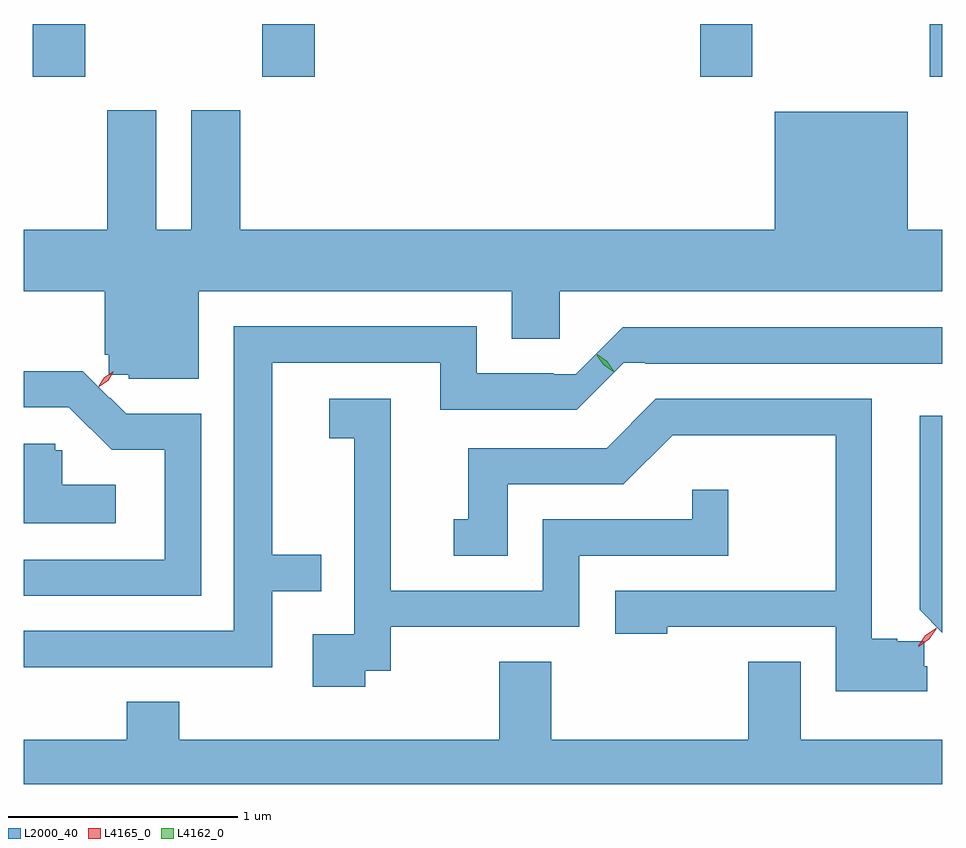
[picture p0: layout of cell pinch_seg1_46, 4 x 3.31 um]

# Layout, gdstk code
import gdstk
lib = gdstk.Library(unit=1e-6, precision=1e-09)
def R(c, l, rs):  # rectangles x0, y0, x1, y1
    for r in rs: c.add(gdstk.rectangle(r[:2], r[2:], *l))
def P(c, l, *ps):  # polygons
    for p in ps: c.add(gdstk.Polygon(p, *l))
L2000_40 = (2000, 40)
L4162_0 = (4162, 0)
L4165_0 = (4165, 0)

pinch_seg1_46 = lib.new_cell('pinch_seg1_46')
R(pinch_seg1_46, L2000_40, [(1447.866,842.791,1448.094,843.02), (1448.866,842.791,1449.094,843.02), (1450.771,842.791,1450.999,843.02), (1451.771,842.791,1451.826,843.02)])
P(pinch_seg1_46, L2000_40, [(1448.589,841.856),(1449.951,841.856),(1449.951,841.651),(1450.159,841.651),(1450.159,841.856),(1451.826,841.856),(1451.826,842.124),(1451.674,842.124),(1451.674,842.639),(1451.096,842.639),(1451.096,842.124),(1448.769,842.124),(1448.769,842.644),(1448.556,842.644),(1448.556,842.124),(1448.404,842.124),(1448.404,842.644),(1448.191,842.644),(1448.191,842.124),(1447.826,842.124),(1447.826,841.856),(1448.179,841.856),(1448.179,841.58),(1448.196,841.58),(1448.196,841.493),(1448.283,841.493),(1448.283,841.476),(1448.589,841.476)],
  [(1448.909,840.551),(1449.123,840.551),(1449.123,840.709),(1448.909,840.709),(1448.909,841.546),(1449.641,841.546),(1449.641,841.341),(1450.234,841.341),(1450.438,841.545),(1450.532,841.545),(1450.532,841.541),(1451.826,841.541),(1451.826,841.699),(1450.434,841.699),(1450.23,841.495),(1450.135,841.495),(1450.135,841.499),(1449.799,841.499),(1449.799,841.704),(1448.741,841.704),(1448.741,840.379),(1447.826,840.379),(1447.826,840.221),(1448.909,840.221)],
  [(1448.599,841.324),(1448.273,841.324),(1448.204,841.393),(1448.202,841.39),(1448.083,841.509),(1447.826,841.509),(1447.826,841.351),(1448.024,841.351),(1448.209,841.166),(1448.441,841.166),(1448.441,840.689),(1447.826,840.689),(1447.826,840.531),(1448.599,840.531)],
  [(1449.314,840.206),(1449.424,840.206),(1449.424,840.396),(1450.244,840.396),(1450.244,840.706),(1450.894,840.706),(1450.894,840.993),(1450.736,840.993),(1450.736,840.864),(1450.086,840.864),(1450.086,840.554),(1449.424,840.554),(1449.424,841.389),(1449.156,841.389),(1449.156,841.216),(1449.266,841.216),(1449.266,840.364),(1449.086,840.364),(1449.086,840.136),(1449.314,840.136)],
  [(1451.76,840.225),(1451.746,840.225),(1451.746,840.333),(1451.63,840.333),(1451.63,840.344),(1451.519,840.344),(1451.519,841.389),(1450.579,841.389),(1450.364,841.174),(1449.761,841.174),(1449.761,840.864),(1449.698,840.864),(1449.698,840.706),(1449.934,840.706),(1449.934,841.016),(1450.437,841.016),(1450.652,841.231),(1451.361,841.231),(1451.361,840.554),(1450.401,840.554),(1450.401,840.366),(1450.629,840.366),(1450.629,840.396),(1451.361,840.396),(1451.361,840.116),(1451.76,840.116)],
  [(1451.826,841.314),(1451.726,841.314),(1451.726,840.47),(1451.826,840.37)],
  [(1448.228,841.014),(1447.994,841.014),(1447.994,841.164),(1447.964,841.164),(1447.964,841.194),(1447.826,841.194),(1447.826,840.846),(1448.228,840.846)],
  [(1451.826,839.904),(1451.209,839.904),(1451.209,840.244),(1450.981,840.244),(1450.981,839.904),(1450.124,839.904),(1450.124,840.244),(1449.896,840.244),(1449.896,839.904),(1448.504,839.904),(1448.504,840.069),(1448.276,840.069),(1448.276,839.904),(1447.826,839.904),(1447.826,839.712),(1451.826,839.712)])
P(pinch_seg1_46, L4162_0, [(1450.392,841.507),(1450.35,841.536),(1450.322,841.578),(1450.322,841.579),(1450.323,841.579),(1450.365,841.55),(1450.392,841.508),(1450.392,841.507)],
  [(1450.396,841.505),(1450.352,841.538),(1450.321,841.584),(1450.321,841.585),(1450.322,841.585),(1450.366,841.552),(1450.397,841.506),(1450.397,841.505)])
P(pinch_seg1_46, L4165_0, [(1448.154,841.442),(1448.154,841.442),(1448.179,841.482),(1448.218,841.508),(1448.219,841.508),(1448.219,841.508),(1448.194,841.468),(1448.155,841.442)],
  [(1451.721,840.31),(1451.721,840.31),(1451.754,840.357),(1451.801,840.39),(1451.802,840.39),(1451.802,840.389),(1451.768,840.343),(1451.722,840.31)],
  [(1451.721,840.313),(1451.721,840.314),(1451.752,840.359),(1451.797,840.391),(1451.798,840.391),(1451.798,840.39),(1451.766,840.345),(1451.722,840.313)],
  [(1448.154,841.445),(1448.154,841.446),(1448.177,841.482),(1448.214,841.506),(1448.215,841.506),(1448.215,841.505),(1448.192,841.468),(1448.155,841.445)])

lib.write_gds('pinch_seg1_46.gds')
